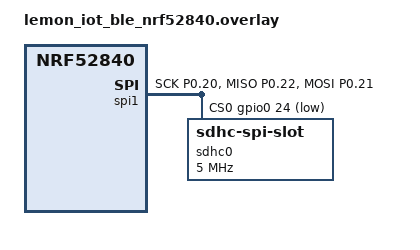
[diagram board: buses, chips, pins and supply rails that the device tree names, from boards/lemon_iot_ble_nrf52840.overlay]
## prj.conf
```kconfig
CONFIG_CONSOLE=y

CONFIG_DISK_ACCESS=y
CONFIG_LOG=y
CONFIG_FILE_SYSTEM=y
CONFIG_FAT_FILESYSTEM_ELM=y
CONFIG_PRINTK=y
CONFIG_MAIN_STACK_SIZE=2048

CONFIG_NEWLIB_LIBC=y
CONFIG_POSIX_API=y
CONFIG_ENTROPY_GENERATOR=y
```

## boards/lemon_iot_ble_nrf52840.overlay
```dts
&pinctrl {
	spi1_default: spi1_default {
		group1 {
			psels = <NRF_PSEL(SPIM_SCK, 0, 20)>,
				<NRF_PSEL(SPIM_MISO, 0, 22)>,
				<NRF_PSEL(SPIM_MOSI, 0, 21)>;
                        bias-pull-up;
		};
	};

	spi1_sleep: spi1_sleep {
		group1 {
			psels = <NRF_PSEL(SPIM_SCK, 0, 20)>,
				<NRF_PSEL(SPIM_MISO, 0, 22)>,
				<NRF_PSEL(SPIM_MOSI, 0, 21)>;
			low-power-enable;
		};
	};
};

&spi1 {
	compatible = "nordic,nrf-spim";
	status = "okay";
	cs-gpios = <&gpio0 24 GPIO_ACTIVE_LOW>;
	pinctrl-0 = <&spi1_default>;
	pinctrl-1 = <&spi1_sleep>;
	pinctrl-names = "default", "sleep";
	sdhc0: sdhc@0 {
		compatible = "zephyr,sdhc-spi-slot";
		reg = <0>;
		status = "okay";
		mmc {
			compatible = "zephyr,sdmmc-disk";
			status = "okay";
		};
		spi-max-frequency = <5000000>;
	};
};
```

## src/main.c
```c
/*
 * Copyright (c) 2023 Aaron Mohtar & Co Pty Ltd
 * Copyright (c) 2023 Craig Peacock
 *
 * SPDX-License-Identifier: Apache-2.0
 */

#include <zephyr/kernel.h>
#include <zephyr/device.h>
#include <zephyr/fs/fs.h>
#include <stdio.h>
#include <sys/time.h>
#include <unistd.h>
#include <string.h>
#include <zephyr/random/rand32.h>
#include "logfile.h"

void logfile_handler(struct k_work *item)
{
	struct logfile_t *logfile = (void *)item;
	char buffer[80];

	//
	// Add any variables and functions you wish to periodically log here
	//

	// Get local time
	struct tm tm;
	time_t now = time(NULL);
	localtime_r(&now, &tm);

	// Get param1, param2, param3
	uint32_t param1, param2, param3;
	param1 = sys_rand32_get();
	param2 = sys_rand32_get();
	param3 = sys_rand32_get();
	
	// Log to file
	sprintf(buffer, "%02d:%02d:%02d,%d,%d,%d\n", tm.tm_hour, tm.tm_min, tm.tm_sec, param1, param2, param3);
	logfile_write(logfile, buffer, strlen(buffer));
}

void main(void)
{
	struct logfile_t log;

	printk("MicroSD FAT32 Datalogger Example\nBoard: %s\n", CONFIG_BOARD);

	mount_disk();
	logfile_open(&log, "/SD:/data.log", logfile_handler, K_SECONDS(1));

	k_sleep(K_SECONDS(30));

	logfile_close(&log);
}
```

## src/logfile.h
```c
/*
 * logfile.c - Routines for logging data to MicroSD Card formatted
 * with a FAT32 filesystem.
 * 
 * Copyright (c) 2023 Aaron Mohtar & Co Pty Ltd
 * Copyright (c) 2023 Craig Peacock
 *
 * SPDX-License-Identifier: Apache-2.0
 */

struct logfile_t {
	struct k_work work;		/* Must be first parameter as we pass this to k_work_init() */
	struct fs_file_t file;
	struct k_timer timer;
};

void mount_disk(void);
void logfile_open(struct logfile_t *logfile, char *filename, k_work_handler_t work_log_handler, k_timeout_t period);
void logfile_write(struct logfile_t *logfile, char *buffer, size_t size);
void logfile_close(struct logfile_t *logfile);
```
